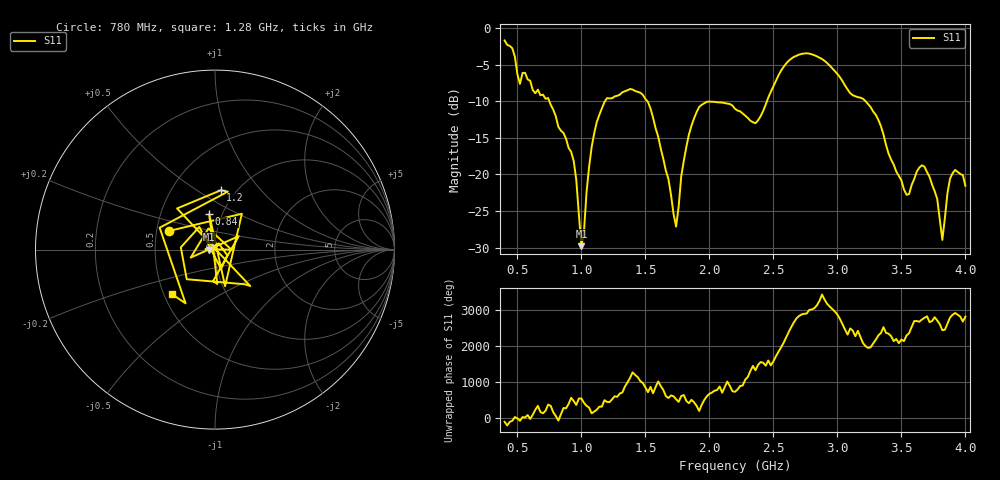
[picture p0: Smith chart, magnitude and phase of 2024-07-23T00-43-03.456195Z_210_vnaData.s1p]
!Created with skrf (http://scikit-rf.org).
# Hz S RI R 50.0
!freq ReS11 ImS11
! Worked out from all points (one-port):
!   181 points, 400 MHz to 4 GHz, reference 50 ohm
!   lowest |S11| = -29.8 dB at 1 GHz (marker M1), VSWR 1.07, Z = 46.9 + j0.0254 ohm
!   |S11| at or under -10 dB: 749.6 MHz to 1.184 GHz (434.8 MHz wide, 45 % of centre); 1.515 GHz to 2.449 GHz (934.1 MHz wide, 47.1 % of centre); 3.22 GHz to end of sweep
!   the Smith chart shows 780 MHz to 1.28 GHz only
!   S11 on the Smith chart (normalised r, x): 780 MHz: 0.58, +0.13; 840 MHz: 0.87, +0.36; 1.2 GHz: 0.85, +0.63; 1.28 GHz: 0.55, -0.31
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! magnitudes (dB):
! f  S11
! 400 MHz  -1.7
! 520 MHz  -7.6
! 780 MHz  -11.2
! 840 MHz  -14.0
! 860 MHz  -14.3
! 940 MHz  -18.2
! 1 GHz  -29.8
! 1.08 GHz  -16.3
! 1.2 GHz  -9.6
! 1.28 GHz  -9.2
! 1.3 GHz  -9.1
! 1.52 GHz  -10.1
! 1.74 GHz  -27.1
! 1.76 GHz  -24.3
! 1.82 GHz  -16.2
! 1.92 GHz  -10.8
! 2.2 GHz  -11.0
! 2.36 GHz  -13.0
! 2.66 GHz  -3.9
! 2.88 GHz  -4.2
! 3.1 GHz  -8.9
! 3.3 GHz  -11.9
! 3.56 GHz  -22.7
! 3.68 GHz  -18.9
! 3.78 GHz  -23.4
! 3.82 GHz  -29.0
! 3.88 GHz  -20.6
! 4 GHz  -21.5
